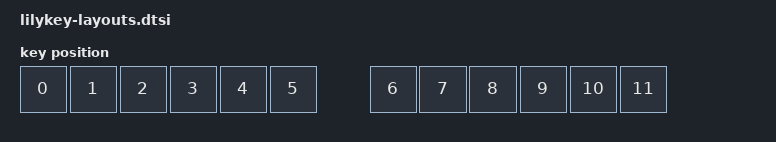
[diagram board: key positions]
#include <physical_layouts.dtsi>

/ {
    default_layout: default_layout {
        compatible = "zmk,physical-layout";
        display-name = "Default Layout";
        transform = <&default_transform>;
        kscan = <&kscan0>; // This matches the label in lilykey.dtsi

        keys
            = <&key_physical_attrs 100 100    0    0    0    0    0>
            , <&key_physical_attrs 100 100  100    0    0    0    0>
            , <&key_physical_attrs 100 100  200    0    0    0    0>
            , <&key_physical_attrs 100 100  300    0    0    0    0>
            , <&key_physical_attrs 100 100  400    0    0    0    0>
            , <&key_physical_attrs 100 100  500    0    0    0    0>

            , <&key_physical_attrs 100 100  700    0    0    0    0>
            , <&key_physical_attrs 100 100  800    0    0    0    0>
            , <&key_physical_attrs 100 100  900    0    0    0    0>
            , <&key_physical_attrs 100 100 1000    0    0    0    0>
            , <&key_physical_attrs 100 100 1100    0    0    0    0>
            , <&key_physical_attrs 100 100 1200    0    0    0    0>
            // Add more key attributes as you build out the physical map
            ;
    };
};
